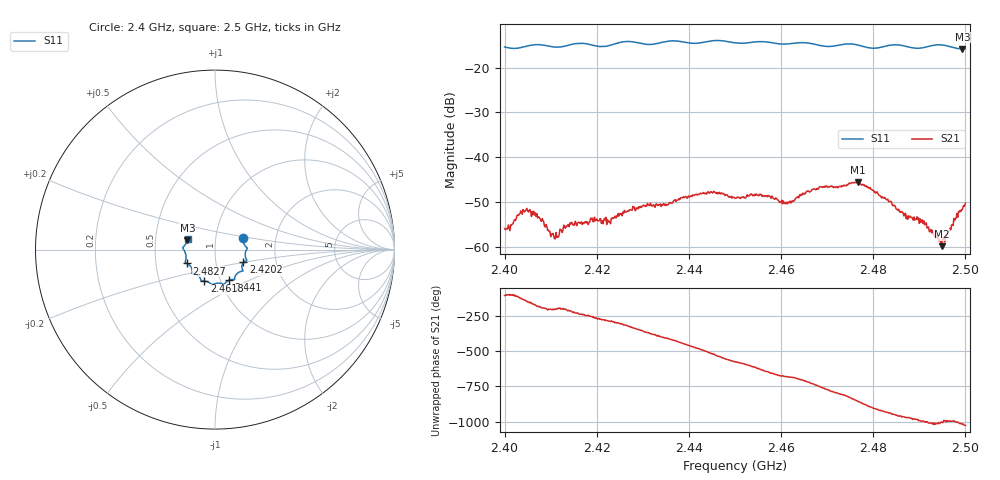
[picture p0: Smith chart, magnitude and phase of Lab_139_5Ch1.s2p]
# Hz S RI R 50
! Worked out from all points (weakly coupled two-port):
!   601 points, 2.4 GHz to 2.5 GHz, reference 50 ohm
!   highest |S21| = -45.57 dB at 2.4767 GHz (marker M1); lowest = -59.9 dB at 2.4948 GHz (marker M2)
!   lowest |S11| = -15.8 dB at 2.4993 GHz (marker M3), VSWR 1.39, Z = 36.5 + j3.83 ohm
!   |S11| at or under -10 dB: start of sweep to end of sweep
!   S12 and S22 are empty: the file has one direction only
!   S11 on the Smith chart (normalised r, x): 2.4 GHz: 1.36, +0.18; 2.4202 GHz: 1.36, -0.20; 2.441 GHz: 1.10, -0.39; 2.4618 GHz: 0.84, -0.30; 2.4827 GHz: 0.72, -0.11; 2.5 GHz: 0.73, +0.09
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2.4e9  0.1584 0.0629  -0.000444 -0.00152  0 0  0 0
2.4045e9  0.1717 0.0163  -0.0019 -0.00161  0 0  0 0
2.406833e9  0.1807 0.00918  -0.00217 -5.83e-05  0 0  0 0
2.411167e9  0.1687 -0.0184  -0.00131 0.00059  0 0  0 0
2.413333e9  0.17 -0.0428  -0.00151 0.000737  0 0  0 0
2.416667e9  0.1771 -0.061  -0.00103 0.00157  0 0  0 0
2.420167e9  0.1586 -0.0712  0.000145 0.00194  0 0  0 0
2.422667e9  0.1493 -0.094  0.000577 0.00182  0 0  0 0
2.433333e9  0.1114 -0.1507  0.00236 -0.00166  0 0  0 0
2.441e9  0.0788 -0.1698  -0.00137 -0.00346  0 0  0 0
2.45e9  0.0284 -0.1875  -0.00284 0.00201  0 0  0 0
2.455167e9  -0.0131 -0.1952  -0.000355 0.00369  0 0  0 0
2.461833e9  -0.059 -0.1756  0.00257 0.00184  0 0  0 0
2.466667e9  -0.0789 -0.1683  0.00424 -0.000725  0 0  0 0
2.476667e9  -0.1268 -0.1266  -0.00389 -0.00354  0 0  0 0
2.482667e9  -0.1561 -0.0772  -0.00295 0.0018  0 0  0 0
2.483333e9  -0.1605 -0.0752  -0.00248 0.00197  0 0  0 0
2.487e9  -0.1632 -0.0597  -0.000826 0.0022  0 0  0 0
2.491e9  -0.1677 -0.0118  0.000251 0.00192  0 0  0 0
2.494833e9  -0.1793 0.0119  0.000221 0.000984  0 0  0 0
2.499333e9  -0.1541 0.0511  0.00127 0.00225  0 0  0 0
2.5e9  -0.1523 0.0607  0.00185 0.00243  0 0  0 0
